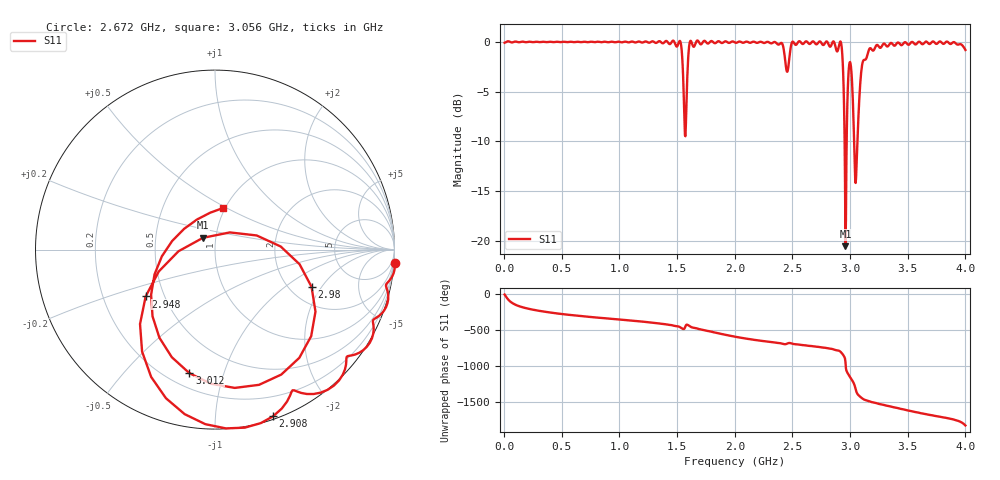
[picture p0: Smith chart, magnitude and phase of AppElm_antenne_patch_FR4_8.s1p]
! TOUCHSTONE file generated by CST MICROWAVE STUDIO
! Date and time: Tue Jun  7 20:32:33 2022
! Project name: AppElm_antenne_patch_FR4.cst
! Parameters = {L=45; W=58.5; e=0.035; h=1.6; lambda=0.190476; ls=120; w0=1.6; w1=0.533333; ws=120; y0=22; y1=23.8095}
! Header version: 2018
! Port assignment regex: !\s*Touchstone port\s*([0-9]+)\s*=\s*(CST MWS port|CST DS port)\s*([0-9]+|Zmin|Zmax)\s*\(\"(.*)\"\)(\s*mode\s*([0-9]+))?.*
! Touchstone port assignment:
! Touchstone port 1 = CST MWS port 1 ("")
# GHz S MA R 50
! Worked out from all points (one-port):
!   1000 points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, 4 MHz to 4 GHz, reference 50 ohm
!   lowest |S11| = -20.5 dB at 2.96 GHz (marker M1), VSWR 1.21, Z = 43.3 + j5.74 ohm
!   |S11| at or under -10 dB: 2.952 GHz to 2.971 GHz (18.05 MHz wide, 0.609 % of centre); 3.035 GHz to 3.064 GHz (28.88 MHz wide, 0.947 % of centre)
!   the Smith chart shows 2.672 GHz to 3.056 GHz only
!   S11 on the Smith chart (normalised r, x): 2.672 GHz: -1, -27; 2.908 GHz: 0.02, -1.41; 2.948 GHz: 0.39, -0.26; 2.98 GHz: 2.60, -1.62; 3.012 GHz: 0.28, -0.77; 3.056 GHz: 0.98, +0.48
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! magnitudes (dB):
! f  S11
! 4 MHz  -0.1
! 504 MHz  0.0
! 1.004 GHz  0.0
! 1.504 GHz  -0.4
! 1.532 GHz  -0.1
! 1.56 GHz  -6.4
! 1.572 GHz  -9.5
! 1.62 GHz  0.1
! 2.004 GHz  -0.1
! 2.4 GHz  -0.1
! 2.452 GHz  -3.0
! 2.504 GHz  0.0
! 2.672 GHz  0.0
! 2.908 GHz  -0.1
! 2.928 GHz  -0.6
! 2.948 GHz  -6.6
! 2.96 GHz  -20.5
! 2.98 GHz  -4.8
! 2.992 GHz  -2.3
! 3.004 GHz  -2.2
! 3.012 GHz  -3.1
! 3.04 GHz  -12.3
! 3.056 GHz  -12.5
! 3.092 GHz  -3.6
! 3.124 GHz  -1.8
! 3.232 GHz  -0.3
! 3.504 GHz  -0.3
! 4 GHz  -0.8
